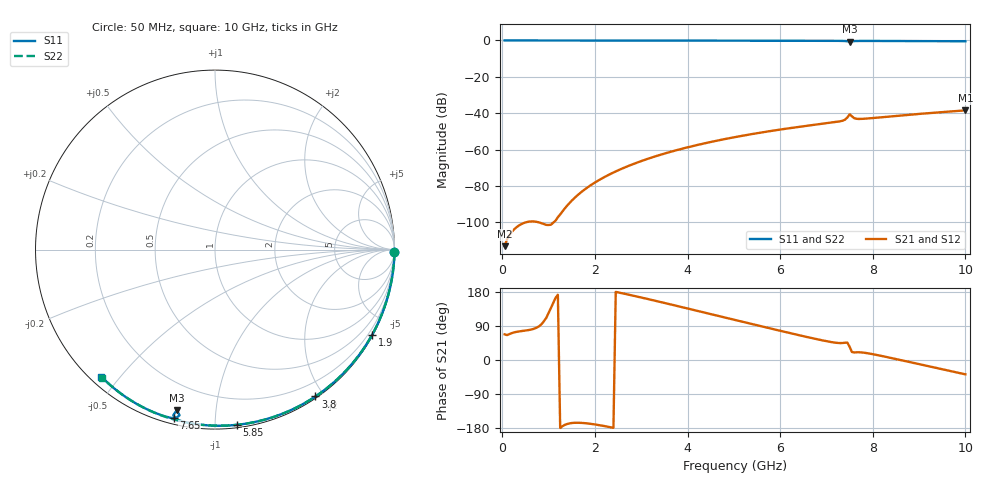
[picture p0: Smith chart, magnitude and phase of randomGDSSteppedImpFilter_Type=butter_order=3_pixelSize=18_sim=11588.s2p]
! freq	dB(S11)	phase(S11)	dB(S12)	phase(S12)
!  dB(S21)	phase(S21)	dB(S22)	phase(S22)
!S-par simulation data
#  GHz  S  DB  R 50
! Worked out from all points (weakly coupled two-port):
!   200 points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, 50 MHz to 10 GHz, reference 50 ohm
!   highest |S21| = -38.45 dB at 10 GHz (marker M1); lowest = -113.1 dB at 50 MHz (marker M2)
!   lowest |S11| = -0.7 dB at 7.5 GHz (marker M3), VSWR 24.03, Z = 3.37 - j39.4 ohm
!   |S11| at or under -10 dB: nowhere
!   |S22| runs from -0.4 to 0.0 dB; largest |S21 - S12| = 0
!   S11 on the Smith chart (normalised r, x): 50 MHz: open; 1.9 GHz: 0.03, -3.94; 3.8 GHz: 0.02, -1.89; 5.85 GHz: 0.02, -1.13; 7.65 GHz: 0.03, -0.78; 10 GHz: 0.03, -0.45
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0.05  -0.00 -0.8  -113.10 67.7  -113.10 67.7  -0.00 -0.8
0.9  -0.02 -13.6  -101.00 102.5  -101.00 102.5  -0.02 -13.6
1.75  -0.03 -26.3  -82.48 -166.3  -82.48 -166.3  -0.03 -26.2
1.9  -0.04 -28.5  -79.75 -168.3  -79.75 -168.3  -0.04 -28.4
2.2  -0.04 -32.9  -75.18 -174.2  -75.18 -174.2  -0.04 -32.8
2.55  -0.05 -38.0  -70.84 177.2  -70.84 177.2  -0.05 -37.8
2.95  -0.06 -43.7  -66.78 166.3  -66.78 166.3  -0.06 -43.5
3.4  -0.07 -50.1  -62.96 153.5  -62.96 153.5  -0.07 -49.9
3.8  -0.08 -55.6  -60.07 141.9  -60.07 141.9  -0.08 -55.4
4.4  -0.09 -63.8  -56.37 124.2  -56.37 124.2  -0.09 -63.6
5.05  -0.11 -72.5  -53.02 104.9  -53.02 104.9  -0.11 -72.2
5.85  -0.14 -82.8  -49.57 81.5  -49.57 81.5  -0.14 -82.5
6.7  -0.18 -93.5  -46.51 57.4  -46.51 57.4  -0.18 -93.0
7.35  -0.25 -102.2  -44.11 44.8  -44.11 44.8  -0.22 -100.9
7.4  -0.30 -103.1  -43.57 45.7  -43.57 45.7  -0.22 -101.5
7.45  -0.44 -104.1  -42.37 46.0  -42.37 46.0  -0.22 -102.1
7.5  -0.72 -103.4  -40.66 34.9  -40.66 34.9  -0.23 -102.6
7.55  -0.50 -102.1  -41.71 21.1  -41.71 21.1  -0.23 -103.2
7.6  -0.35 -102.9  -42.73 19.9  -42.73 19.9  -0.23 -103.8
7.65  -0.30 -103.8  -43.07 20.4  -43.07 20.4  -0.24 -104.4
8.35  -0.29 -112.8  -41.84 6.6  -41.84 6.6  -0.29 -112.6
10  -0.45 -131.8  -38.45 -37.8  -38.45 -37.8  -0.44 -131.4
